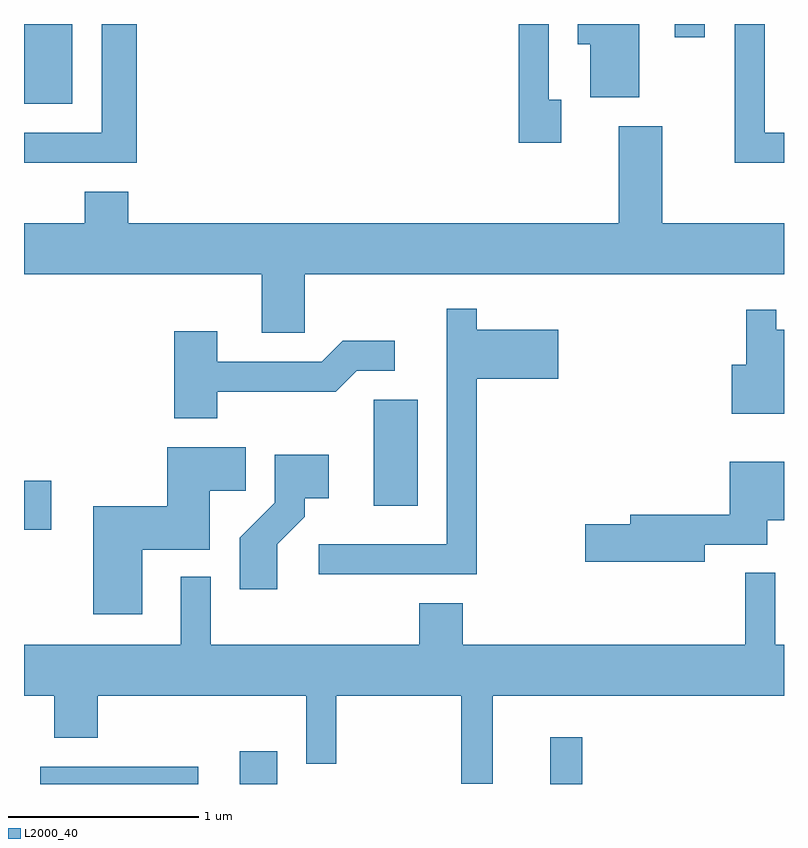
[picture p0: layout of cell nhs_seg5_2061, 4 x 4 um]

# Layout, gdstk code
import gdstk
lib = gdstk.Library(unit=1e-6, precision=1e-09)
def R(c, l, rs):  # rectangles x0, y0, x1, y1
    for r in rs: c.add(gdstk.rectangle(r[:2], r[2:], *l))
def P(c, l, *ps):  # polygons
    for p in ps: c.add(gdstk.Polygon(p, *l))
L2000_40 = (2000, 40)

nhs_seg5_2061 = lib.new_cell('nhs_seg5_2061')
R(nhs_seg5_2061, L2000_40, [(245.696,1494.072,246.528,1494.164), (246.746,1494.072,246.944,1494.244), (248.381,1494.072,248.549,1494.318), (245.611,1495.411,245.754,1495.669), (247.451,1495.536,247.684,1496.094), (245.611,1497.651,245.864,1498.072), (249.036,1498.003,249.194,1498.072)])
P(nhs_seg5_2061, L2000_40, [(248.849,1498.072),(248.526,1498.072),(248.526,1497.966),(248.591,1497.966),(248.591,1497.686),(248.849,1497.686)],
  [(248.439,1497.674),(248.374,1497.674),(248.374,1498.072),(248.216,1498.072),(248.216,1497.446),(248.439,1497.446)],
  [(246.204,1498.072),(246.021,1498.072),(246.021,1497.499),(245.611,1497.499),(245.611,1497.341),(246.204,1497.341)],
  [(249.611,1497.499),(249.509,1497.499),(249.509,1498.072),(249.351,1498.072),(249.351,1497.341),(249.611,1497.341)],
  [(247.089,1496.756),(249.611,1496.756),(249.611,1497.024),(248.969,1497.024),(248.969,1497.534),(248.741,1497.534),(248.741,1497.024),(246.159,1497.024),(246.159,1497.189),(245.931,1497.189),(245.931,1497.024),(245.611,1497.024),(245.611,1496.756),(246.861,1496.756),(246.861,1496.446),(247.089,1496.446)],
  [(247.994,1496.206),(248.424,1496.206),(248.424,1496.464),(247.994,1496.464),(247.994,1496.573),(247.836,1496.573),(247.836,1495.334),(247.163,1495.334),(247.163,1495.176),(247.994,1495.176)],
  [(249.611,1496.464),(249.569,1496.464),(249.569,1496.568),(249.411,1496.568),(249.411,1496.279),(249.336,1496.279),(249.336,1496.021),(249.611,1496.021)],
  [(246.629,1496.136),(247.252,1496.136),(247.362,1496.246),(247.563,1496.246),(247.563,1496.404),(247.289,1496.404),(247.179,1496.294),(246.629,1496.294),(246.629,1496.454),(246.401,1496.454),(246.401,1495.996),(246.629,1495.996)],
  [(246.234,1495.306),(246.589,1495.306),(246.589,1495.616),(246.779,1495.616),(246.779,1495.844),(246.366,1495.844),(246.366,1495.534),(245.976,1495.534),(245.976,1494.966),(246.234,1494.966)],
  [(246.944,1495.334),(247.089,1495.479),(247.089,1495.576),(247.214,1495.576),(247.214,1495.804),(246.931,1495.804),(246.931,1495.552),(246.746,1495.367),(246.746,1495.096),(246.944,1495.096)],
  [(249.194,1495.331),(249.524,1495.331),(249.524,1495.461),(249.611,1495.461),(249.611,1495.769),(249.326,1495.769),(249.326,1495.489),(248.801,1495.489),(248.801,1495.439),(248.566,1495.439),(248.566,1495.241),(249.194,1495.241)],
  [(248.079,1494.536),(249.611,1494.536),(249.611,1494.804),(249.564,1494.804),(249.564,1495.183),(249.406,1495.183),(249.406,1494.804),(247.919,1494.804),(247.919,1495.024),(247.691,1495.024),(247.691,1494.804),(246.594,1494.804),(246.594,1495.163),(246.436,1495.163),(246.436,1494.804),(245.611,1494.804),(245.611,1494.536),(245.771,1494.536),(245.771,1494.316),(245.999,1494.316),(245.999,1494.536),(247.096,1494.536),(247.096,1494.178),(247.254,1494.178),(247.254,1494.536),(247.911,1494.536),(247.911,1494.073),(248.079,1494.073)])

lib.write_gds('nhs_seg5_2061.gds')
